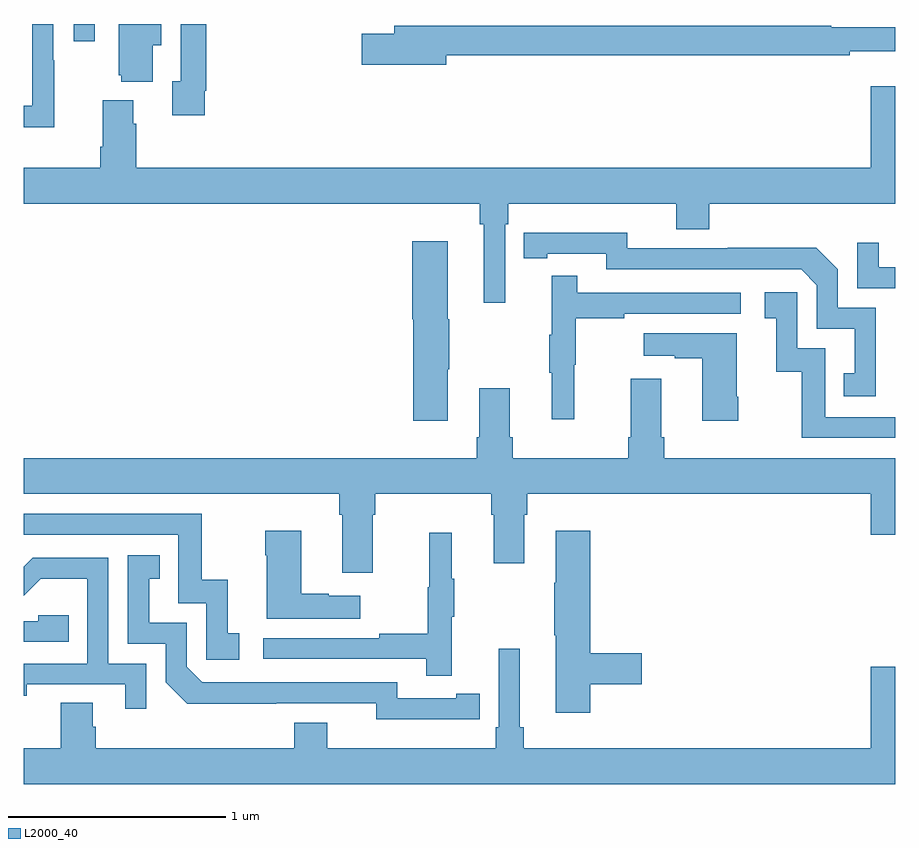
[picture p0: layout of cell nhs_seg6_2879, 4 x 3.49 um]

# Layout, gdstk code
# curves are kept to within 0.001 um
import gdstk
lib = gdstk.Library(unit=1e-6, precision=1e-09)
def R(c, l, rs):  # rectangles x0, y0, x1, y1
    for r in rs: c.add(gdstk.rectangle(r[:2], r[2:], *l))
def P(c, l, *ps):  # polygons
    for p in ps: c.add(gdstk.Polygon(p, *l))
L2000_40 = (2000, 40)

nhs_seg6_2879 = lib.new_cell('nhs_seg6_2879')
R(nhs_seg6_2879, L2000_40, [(281.229,941.421,281.325,941.5)])
P(nhs_seg6_2879, L2000_40, [(281.593,941.402),(281.632,941.402),(281.632,941.5),(281.435,941.5),(281.435,941.265),(281.447,941.265),(281.447,941.234),(281.593,941.234)],
  [(281.139,941.333),(281.136,941.333),(281.136,941.5),(281.04,941.5),(281.04,941.124),(281,941.124),(281,941.027),(281.139,941.027)],
  [(281.83,941.194),(281.837,941.194),(281.837,941.5),(281.721,941.5),(281.721,941.238),(281.681,941.238),(281.681,941.082),(281.83,941.082)],
  [(282.94,941.356),(284.792,941.356),(284.792,941.375),(285,941.375),(285,941.485),(284.705,941.485),(284.705,941.492),(282.701,941.492),(282.701,941.456),(282.552,941.456),(282.552,941.314),(282.94,941.314)],
  [(283.209,940.58),(283.223,940.58),(283.223,940.676),(283.994,940.676),(283.994,940.559),(284.147,940.559),(284.147,940.676),(285,940.676),(285,941.215),(284.888,941.215),(284.888,940.84),(281.516,940.84),(281.516,941.042),(281.503,941.042),(281.503,941.149),(281.363,941.149),(281.363,940.936),(281.351,940.936),(281.351,940.84),(281,940.84),(281,940.676),(283.093,940.676),(283.093,940.58),(283.112,940.58),(283.112,940.221),(283.209,940.221)],
  [(284.91,940.197),(284.736,940.197),(284.736,940.374),(284.638,940.472),(284.23,940.472),(284.23,940.47),(283.77,940.47),(283.77,940.543),(283.294,940.542),(283.294,940.426),(283.402,940.426),(283.402,940.446),(283.674,940.446),(283.674,940.374),(284.568,940.374),(284.64,940.302),(284.64,940.101),(284.813,940.101),(284.813,939.897),(284.764,939.897),(284.764,939.792),(284.91,939.792)],
  [(282.946,939.916),(282.954,939.916),(282.954,940.146),(282.946,940.146),(282.946,940.504),(282.782,940.504),(282.782,940.146),(282.788,940.146),(282.788,939.678),(282.946,939.678)],
  [(285,940.383),(284.923,940.383),(284.923,940.495),(284.826,940.495),(284.826,940.287),(285,940.287)],
  [(283.526,939.936),(283.534,939.936),(283.534,940.15),(283.757,940.15),(283.757,940.17),(284.29,940.17),(284.29,940.266),(283.541,940.266),(283.541,940.345),(283.424,940.345),(283.424,940.073),(283.413,940.073),(283.413,939.899),(283.424,939.899),(283.424,939.687),(283.526,939.687)],
  [(285,939.696),(284.679,939.696),(284.679,940.011),(284.55,940.011),(284.55,940.27),(284.4,940.27),(284.4,940.149),(284.453,940.149),(284.453,939.903),(284.571,939.903),(284.571,939.6),(285,939.6)],
  [(284.28,939.79),(284.272,939.79),(284.272,940.081),(283.845,940.081),(283.845,939.977),(283.988,939.977),(283.988,939.967),(284.114,939.967),(284.114,939.678),(284.28,939.678)],
  [(283.787,939.871),(283.787,939.604),(283.775,939.604),(283.775,939.508),(283.244,939.508),(283.244,939.604),(283.231,939.604),(283.231,939.829),(283.091,939.829),(283.091,939.604),(283.079,939.604),(283.079,939.508),(281,939.508),(281,939.344),(282.449,939.344),(282.449,939.248),(282.461,939.248),(282.461,938.982),(282.601,938.982),(282.601,939.248),(282.614,939.248),(282.614,939.344),(283.145,939.344),(283.145,939.248),(283.157,939.248),(283.157,939.024),(283.297,939.024),(283.297,939.248),(283.31,939.248),(283.31,939.344),(284.888,939.344),(284.888,939.156),(285,939.156),(285,939.508),(283.94,939.508),(283.94,939.604),(283.927,939.604),(283.927,939.871)],
  [(281.989,938.703),(281.936,938.703),(281.936,938.95),(281.818,938.95),(281.818,939.252),(281,939.252),(281,939.156),(281.709,939.156),(281.709,938.841),(281.838,938.841),(281.838,938.583),(281.989,938.583)],
  [(282.544,938.875),(282.401,938.875),(282.401,938.885),(282.274,938.885),(282.274,939.175),(282.109,939.175),(282.109,939.062),(282.116,939.062),(282.116,938.771),(282.544,938.771)],
  [(283.601,938.47),(283.837,938.47),(283.837,938.612),(283.601,938.612),(283.601,939.175),(283.442,939.175),(283.442,938.936),(283.435,938.936),(283.435,938.695),(283.442,938.695),(283.442,938.34),(283.601,938.34)],
  [(282.965,938.779),(282.976,938.779),(282.976,938.953),(282.965,938.953),(282.965,939.166),(282.862,939.166),(282.862,938.916),(282.855,938.916),(282.855,938.702),(282.631,938.702),(282.631,938.682),(282.099,938.682),(282.099,938.586),(282.847,938.586),(282.847,938.508),(282.965,938.508)],
  [(282.986,938.31),(283.094,938.31),(283.094,938.426),(282.986,938.426),(282.986,938.406),(282.714,938.406),(282.714,938.478),(281.82,938.478),(281.748,938.55),(281.748,938.751),(281.575,938.751),(281.575,938.955),(281.624,938.955),(281.624,939.061),(281.478,939.061),(281.478,938.655),(281.652,938.655),(281.652,938.478),(281.75,938.381),(282.618,938.382),(282.618,938.309)],
  [(281.562,938.565),(281.388,938.565),(281.388,939.051),(281.042,939.051),(281,939.009),(281,938.876),(281.078,938.954),(281.292,938.954),(281.292,938.565),(281,938.565),(281,938.418),(281.014,938.418),(281.014,938.469),(281.465,938.469),(281.465,938.358),(281.562,938.358)],
  [(281.207,938.787),(281.067,938.787),(281.067,938.76),(281,938.76),(281,938.664),(281.207,938.664)],
  [(285,938.551),(284.888,938.551),(284.888,938.176),(283.295,938.176),(283.295,938.272),(283.276,938.272),(283.276,938.632),(283.179,938.632),(283.179,938.272),(283.166,938.272),(283.166,938.176),(282.394,938.176),(282.394,938.293),(282.242,938.293),(282.242,938.176),(281.33,938.176),(281.33,938.274),(281.317,938.274),(281.317,938.384),(281.17,938.384),(281.17,938.176),(281,938.176),(281,938.012),(285,938.012)])

lib.write_gds('nhs_seg6_2879.gds')
